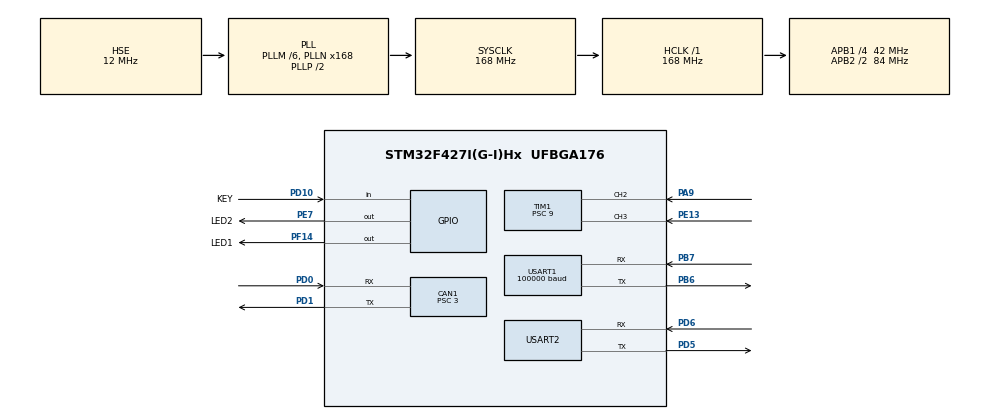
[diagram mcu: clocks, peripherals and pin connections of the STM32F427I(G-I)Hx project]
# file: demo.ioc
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CAN1.ABOM=ENABLE
CAN1.BS1=CAN_BS1_9TQ
CAN1.BS2=CAN_BS2_4TQ
CAN1.CalculateTimeBit=1000
CAN1.CalculateTimeQuantum=71.42857142857143
CAN1.Prescaler=3
CAN1.SJW=CAN_SJW_1TQ
Dma.Request0=USART1_RX
Dma.Request1=TIM1_CH1/CH2/CH3
Dma.TIM1_CH1/CH2/CH3.1.Direction=DMA_PERIPH_TO_MEMORY
Dma.TIM1_CH1/CH2/CH3.1.FIFOMode=DMA_FIFOMODE_DISABLE
Dma.TIM1_CH1/CH2/CH3.1.Instance=DMA2_Stream6
Dma.TIM1_CH1/CH2/CH3.1.MemDataAlignment=DMA_MDATAALIGN_HALFWORD
Dma.TIM1_CH1/CH2/CH3.1.MemInc=DMA_MINC_ENABLE
Dma.TIM1_CH1/CH2/CH3.1.Mode=DMA_CIRCULAR
Dma.TIM1_CH1/CH2/CH3.1.PeriphDataAlignment=DMA_PDATAALIGN_HALFWORD
Dma.TIM1_CH1/CH2/CH3.1.PeriphInc=DMA_PINC_DISABLE
Dma.TIM1_CH1/CH2/CH3.1.Priority=DMA_PRIORITY_LOW
Dma.USART1_RX.0.Direction=DMA_PERIPH_TO_MEMORY
Dma.USART1_RX.0.FIFOMode=DMA_FIFOMODE_DISABLE
Dma.USART1_RX.0.Instance=DMA2_Stream2
Dma.USART1_RX.0.MemDataAlignment=DMA_MDATAALIGN_BYTE
Dma.USART1_RX.0.MemInc=DMA_MINC_ENABLE
Dma.USART1_RX.0.Mode=DMA_NORMAL
Dma.USART1_RX.0.PeriphDataAlignment=DMA_PDATAALIGN_BYTE
Dma.USART1_RX.0.PeriphInc=DMA_PINC_DISABLE
Dma.USART1_RX.0.Priority=DMA_PRIORITY_LOW
Mcu.Family=STM32F4
Mcu.Name=STM32F427I(G-I)Hx
Mcu.Package=UFBGA176
NVIC.CAN1_RX0_IRQn=true\:0\:0\:false\:false\:true\:true\:true
NVIC.CAN1_TX_IRQn=true\:0\:0\:false\:false\:true\:true\:true
NVIC.DMA2_Stream2_IRQn=true\:0\:0\:false\:false\:true\:true\:true
NVIC.DMA2_Stream6_IRQn=true\:0\:0\:false\:false\:true\:false\:true
NVIC.PriorityGroup=NVIC_PRIORITYGROUP_4
NVIC.TIM6_DAC_IRQn=true\:0\:0\:false\:false\:true\:true\:true
NVIC.TimeBase=TIM6_DAC_IRQn
NVIC.TimeBaseIP=TIM6
NVIC.USART1_IRQn=true\:0\:0\:false\:false\:true\:true\:true
NVIC.USART2_IRQn=true\:0\:0\:false\:false\:true\:true\:true
PA13.Mode=Serial_Wire
PA13.Signal=SYS_JTMS-SWDIO
PA14.Mode=Serial_Wire
PA14.Signal=SYS_JTCK-SWCLK
PA9.Signal=S_TIM1_CH2
PB6.Mode=Asynchronous
PB6.Signal=USART1_TX
PB7.Mode=Asynchronous
PB7.Signal=USART1_RX
PD0.Mode=Master
PD0.Signal=CAN1_RX
PD1.Mode=Master
PD1.Signal=CAN1_TX
PD10.GPIO_Label=KEY
PD10.Signal=GPIO_Input
PD5.Mode=Asynchronous
PD5.Signal=USART2_TX
PD6.Mode=Asynchronous
PD6.Signal=USART2_RX
PE13.Signal=S_TIM1_CH3
PE7.GPIO_Label=LED2
PE7.Signal=GPIO_Output
PF14.GPIO_Label=LED1
PF14.Signal=GPIO_Output
PH0/OSC_IN.Mode=HSE-External-Oscillator
PH0/OSC_IN.Signal=RCC_OSC_IN
PH1/OSC_OUT.Mode=HSE-External-Oscillator
PH1/OSC_OUT.Signal=RCC_OSC_OUT
ProjectManager.HeapSize=0x200
ProjectManager.StackSize=0x400
ProjectManager.TargetToolchain=MDK-ARM V5
RCC.48MHZClocksFreq_Value=84000000
RCC.AHBFreq_Value=168000000
RCC.APB1CLKDivider=RCC_HCLK_DIV4
RCC.APB1Freq_Value=42000000
RCC.APB1TimFreq_Value=84000000
RCC.APB2CLKDivider=RCC_HCLK_DIV2
RCC.APB2Freq_Value=84000000
RCC.APB2TimFreq_Value=168000000
RCC.CortexFreq_Value=168000000
RCC.HCLKFreq_Value=168000000
RCC.HSE_VALUE=12000000
RCC.HSI_VALUE=16000000
RCC.LSE_VALUE=32768
RCC.PLLM=6
RCC.PLLN=168
RCC.PLLSourceVirtual=RCC_PLLSOURCE_HSE
RCC.SYSCLKFreq_VALUE=168000000
RCC.SYSCLKSource=RCC_SYSCLKSOURCE_PLLCLK
RCC.VCOOutputFreq_Value=336000000
SH.S_TIM1_CH2.0=TIM1_CH2,Input_Capture2_from_TI2
SH.S_TIM1_CH2.1=TIM1_CH2,Input_Capture1_from_TI2
SH.S_TIM1_CH3.0=TIM1_CH3,Input_Capture3_from_TI3
SH.S_TIM1_CH3.1=TIM1_CH3,Input_Capture4_from_TI3
TIM1.Channel-Input_Capture1_from_TI2=TIM_CHANNEL_1
TIM1.Channel-Input_Capture2_from_TI2=TIM_CHANNEL_2
TIM1.Channel-Input_Capture3_from_TI3=TIM_CHANNEL_3
TIM1.Channel-Input_Capture4_from_TI3=TIM_CHANNEL_4
TIM1.ICPolarity_CH2=TIM_INPUTCHANNELPOLARITY_BOTHEDGE
TIM1.Period=9999
TIM1.Prescaler=9
USART1.BaudRate=100000
USART1.Parity=PARITY_EVEN
USART1.VirtualMode=VM_ASYNC
USART2.VirtualMode=VM_ASYNC
VP_SYS_VS_tim6.Mode=TIM6
board=demo

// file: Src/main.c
/**
  ******************************************************************************
  * File Name          : main.c
  * Description        : Main program body
  ******************************************************************************
  ** This notice applies to any and all portions of this file
  * that are not between comment pairs USER CODE BEGIN and
  * USER CODE END. Other portions of this file, whether
  * inserted by the user or by software development tools
  * are owned by their respective copyright owners.
  *
  * COPYRIGHT(c) 2022 STMicroelectronics
  *
  * Redistribution and use in source and binary forms, with or without modification,
  * are permitted provided that the following conditions are met:
  *   1. Redistributions of source code must retain the above copyright notice,
  *      this list of conditions and the following disclaimer.
  *   2. Redistributions in binary form must reproduce the above copyright notice,
  *      this list of conditions and the following disclaimer in the documentation
  *      and/or other materials provided with the distribution.
  *   3. Neither the name of STMicroelectronics nor the names of its contributors
  *      may be used to endorse or promote products derived from this software
  *      without specific prior written permission.
  *
  * THIS SOFTWARE IS PROVIDED BY THE COPYRIGHT HOLDERS AND CONTRIBUTORS "AS IS"
  * AND ANY EXPRESS OR IMPLIED WARRANTIES, INCLUDING, BUT NOT LIMITED TO, THE
  * IMPLIED WARRANTIES OF MERCHANTABILITY AND FITNESS FOR A PARTICULAR PURPOSE ARE
  * DISCLAIMED. IN NO EVENT SHALL THE COPYRIGHT HOLDER OR CONTRIBUTORS BE LIABLE
  * FOR ANY DIRECT, INDIRECT, INCIDENTAL, SPECIAL, EXEMPLARY, OR CONSEQUENTIAL
  * DAMAGES (INCLUDING, BUT NOT LIMITED TO, PROCUREMENT OF SUBSTITUTE GOODS OR
  * SERVICES; LOSS OF USE, DATA, OR PROFITS; OR BUSINESS INTERRUPTION) HOWEVER
  * CAUSED AND ON ANY THEORY OF LIABILITY, WHETHER IN CONTRACT, STRICT LIABILITY,
  * OR TORT (INCLUDING NEGLIGENCE OR OTHERWISE) ARISING IN ANY WAY OUT OF THE USE
  * OF THIS SOFTWARE, EVEN IF ADVISED OF THE POSSIBILITY OF SUCH DAMAGE.
  *
  ******************************************************************************
  */

#include "main.h"
#include "stm32f4xx_hal.h"
#include "can.h"
#include "dma.h"
#include "tim.h"
#include "usart.h"
#include "gpio.h"

/* USER CODE BEGIN Includes */
#include "bsp_can.h"
#include "pid.h"
#include "Remote_Control.h"

#include <stdio.h>    //标准基础库函数，Printf函数必须
#include "string.h"   //标准库函数，字符串操作
#include "ctype.h"    //标准库函数，字符操作
// 最简重定向printf函数方式

#include "stm32f4xx_it.h"
#include "Mecanum.h"

/* USER CODE END Includes */

/* USER CODE BEGIN PV */
#define ABS(x)	( (x>0) ? (x) : (-x) )
//#define PI 3.14159265354f
//#define wheel_perimeter 150*PI		//zhouchang		mm!
//#define wheeltrack 430			//hengxiang lunju
//#define wheelbase 360		//qianhoulunde zhouju

//#define CNT_PER_ROUND 8192    // zhuanzi rolls one circle -> pulses
//#define REDUCTION_RATIO 36    // reduction ratio
//#define MOTOR_TOLERANCE 688	// position loop's tolerance  30du
//#define CNT_PER_ROUND_OUT (CNT_PER_ROUND * REDUCTION_RATIO) // motor rolls one circle -> pulses

//float ANGLE_BASE = 0 ;

/* Private variables ---------------------------------------------------------*/
//extern void get_total_angle(moto_measure_t *p);
PID_TypeDef outer_ppid[3];		//	x, y, angle
//PID_TypeDef big_vpid[3];			// mecanum speed
PID_TypeDef motor_vpid[4];		// motor speed

float distance[3] ={0};

//  Initialization
struct mecanum chassis ={0, 0, 0, 0,0,0};
struct mecanum *pchassis = &chassis;

//int32_t set_angle = 8192;		//8192 is 1 roll!
//int32_t set_spd = 4000;

//static int key_sta = 0;
//int speed_step_sign = +1;

uint16_t TIM_COUNT[2];
//int16_t round_CNT;

//#define SpeedStep 	8192.f/3.f

int fputc(int ch, FILE *f)
	{
	 HAL_UART_Transmit(&huart2,(uint8_t *)&ch,1,1000);
		return ch;
	}

/* USER CODE END PV */

void SystemClock_Config(void);

/* USER CODE BEGIN PFP */
/* Private function prototypes -----------------------------------------------*/
void Goto(float x, float y, float angle)		//  x:right ;  y: front!
{
		outer_ppid[0].target = x;
		outer_ppid[1].target = y;
		outer_ppid[2].target = angle;
//		mecanum_calculate(pchassis);
		pid_calculate(&outer_ppid[0],distance[0]);						//PID calculate** distance : speed integral = pass distance
		pid_calculate(&outer_ppid[1],distance[1]);
		pid_calculate(&outer_ppid[2],distance[2]);

//		big_vpid[0].target = outer_ppid[0].output;			//	Vx!
//		big_vpid[1].target = outer_ppid[1].output;			//	Vy!
//		big_vpid[2].target = outer_ppid[2].output;			//	Vw!
//		pchassis->xv_mm_s = x;			//	Vx!
//		pchassis->yv_mm_s = y;			//	Vy!
//		pchassis->zw_deg_s= angle;			//	Vw!
		pchassis->xv_mm_s = outer_ppid[0].output;			//	Vx!
		pchassis->yv_mm_s = outer_ppid[1].output;			//	Vy!
		pchassis->zw_deg_s= outer_ppid[2].output;			//	Vw!

		mecanum_calculate(pchassis);
		for(int i=0; i<4; i++)
    {
      motor_vpid[i].target = pchassis->wheel_rpm[i]; 								//	vpid reduce to small
			pid_calculate(&motor_vpid[i],moto_chassis[i].speed_rpm);						//PID calculate
    }
		set_moto_current(&hcan1, motor_vpid[0].output,
                        motor_vpid[1].output,
                        motor_vpid[2].output,
                        motor_vpid[3].output);
// Here : whether to calculate again?
//		int v_tx = (moto_chassis[1].speed_rpm - moto_chassis[2].speed_rpm)/2;
//		int v_ty = (moto_chassis[0].speed_rpm + moto_chassis[1].speed_rpm)/2;
//		int v_tz = (moto_chassis[0].speed_rpm - moto_chassis[2].speed_rpm )/(wheelbase + wheeltrack);

// Here : whether to calculate again?
// pass distance!   all use one time just ok ,it's the same. here-> motor[0]
		distance[0] += (moto_chassis[1].speed_rpm - moto_chassis[2].speed_rpm)/4320.0f*wheel_perimeter * motor_vpid[0].dtime /1000.0f;		// motor_vpid's "dtime" use to cal Integral of chassis distance
		distance[1] += (-moto_chassis[0].speed_rpm + moto_chassis[1].speed_rpm)/4320.0f*wheel_perimeter * motor_vpid[0].dtime /1000.0f;
	// Here!  	angle needs to be corrected	!!!		ignore temporarily
		distance[2] += (-moto_chassis[0].speed_rpm - moto_chassis[2].speed_rpm )/(wheelbase + wheeltrack)/2160.0f*wheel_perimeter * motor_vpid[0].dtime /1000.0f;

//			distance[0] += pchassis->xv_mm_s * motor_vpid[0].dtime *1000;				//dtime unit is ms
//			distance[1] += pchassis->yv_mm_s * motor_vpid[0].dtime *1000;				//dtime unit is ms				here distance unit is mm
//			distance[2] += pchassis->zw_deg_s * motor_vpid[0].dtime *1000;				//dtime unit is ms

//	printf("%f/t%f/t%f/n",distance[0],distance[1],distance[2]);

}

/* USER CODE END PFP */

int main(void)
{

  /* MCU Configuration----------------------------------------------------------*/

  /* Reset of all peripherals, Initializes the Flash interface and the Systick. */
  HAL_Init();

  /* Configure the system clock */
  SystemClock_Config();

  /* Initialize all configured peripherals */
  MX_GPIO_Init();
  MX_DMA_Init();
  MX_CAN1_Init();
  MX_USART1_UART_Init();
  MX_TIM1_Init();
  MX_USART2_UART_Init();

  /* USER CODE BEGIN 2 */
  my_can_filter_init_recv_all(&hcan1);     //配置CAN过滤器
  HAL_CAN_Receive_IT(&hcan1, CAN_FIFO0);   //启动CAN接收中断
  HAL_UART_Receive_IT_IDLE(&huart1,UART_Buffer,100);   //启动串口接收
  HAL_TIM_IC_Start_DMA(&htim1,TIM_CHANNEL_2,(uint32_t *)TIM_COUNT,2);		// encoder's necessity -> tim

	/*< 初始化PID参数 >*/
	for(int i=0; i<3; i++)
  {
    pid_init(&outer_ppid[i]);
//		pid_init(&big_vpid[i]);
		outer_ppid[i].f_param_init(&outer_ppid[i],PID_Position,16384,5000,10,0,8000,0,1.5,6,0);
//		big_vpid[i].f_param_init(&big_vpid[i],PID_Speed,16384,5000,10,0,8000,0,1.5,0,0);
  }

  for(int i=0; i<4; i++)
  {
    pid_init(&motor_vpid[i]);
    motor_vpid[i].f_param_init(&motor_vpid[i],PID_Speed,2000,5000,10,0,8000,0,1.5,0.1,0);
  }

  /* USER CODE END 2 */

  /* Infinite loop */
  /* USER CODE BEGIN WHILE */
  while (1)
  {

//    if(HAL_GetTick() - Latest_Remote_Control_Pack_Time >500){   //如果500ms都没有收到遥控器数据，证明遥控器可能已经离线，切换到按键控制模式。
//      Key_Scan();
//    }else{
//      set_spd = remote_control.ch4*8000/660;
//    }

//		printf("%d\t%f\n",moto_chassis[1].speed_rpm,moto_chassis[1].real_current);
//		printf("set: %d\treal: %d\n",set_spd, moto_chassis[1].speed_rpm);

//		set_moto_current(&hcan1,100,300,500,700);
//		printf("rpm:%d\tcurrent:%f\n",moto_chassis[0].speed_rpm,moto_chassis[0].real_current);
//		printf("rpm:%d\tcurrent:%f\n",moto_chassis[1].speed_rpm,moto_chassis[1].real_current);
//		printf("rpm:%d\tcurrent:%f\n",moto_chassis[2].speed_rpm,moto_chassis[2].real_current);
//		printf("rpm:%d\tcurrent:%f\n",moto_chassis[3].speed_rpm,moto_chassis[3].real_current);
			Goto(0,1000,0);					//	x>0 left |||  y>0 front

			HAL_Delay(10);      //PID控制频率100HZ
//		cnt++;

  /* USER CODE END WHILE */

  }

}

/** System Clock Configuration
*/
void SystemClock_Config(void)
{

  RCC_OscInitTypeDef RCC_OscInitStruct;
  RCC_ClkInitTypeDef RCC_ClkInitStruct;

    /**Configure the main internal regulator output voltage
    */
  __HAL_RCC_PWR_CLK_ENABLE();

  __HAL_PWR_VOLTAGESCALING_CONFIG(PWR_REGULATOR_VOLTAGE_SCALE1);

    /**Initializes the CPU, AHB and APB busses clocks
    */
  RCC_OscInitStruct.OscillatorType = RCC_OSCILLATORTYPE_HSE;
  RCC_OscInitStruct.HSEState = RCC_HSE_ON;
  RCC_OscInitStruct.PLL.PLLState = RCC_PLL_ON;
  RCC_OscInitStruct.PLL.PLLSource = RCC_PLLSOURCE_HSE;
  RCC_OscInitStruct.PLL.PLLM = 6;
  RCC_OscInitStruct.PLL.PLLN = 168;
  RCC_OscInitStruct.PLL.PLLP = RCC_PLLP_DIV2;
  RCC_OscInitStruct.PLL.PLLQ = 4;
  if (HAL_RCC_OscConfig(&RCC_OscInitStruct) != HAL_OK)
  {
    _Error_Handler(__FILE__, __LINE__);
  }

    /**Initializes the CPU, AHB and APB busses clocks
    */
  RCC_ClkInitStruct.ClockType = RCC_CLOCKTYPE_HCLK|RCC_CLOCKTYPE_SYSCLK
                              |RCC_CLOCKTYPE_PCLK1|RCC_CLOCKTYPE_PCLK2;
  RCC_ClkInitStruct.SYSCLKSource = RCC_SYSCLKSOURCE_PLLCLK;
  RCC_ClkInitStruct.AHBCLKDivider = RCC_SYSCLK_DIV1;
  RCC_ClkInitStruct.APB1CLKDivider = RCC_HCLK_DIV4;
  RCC_ClkInitStruct.APB2CLKDivider = RCC_HCLK_DIV2;

  if (HAL_RCC_ClockConfig(&RCC_ClkInitStruct, FLASH_LATENCY_5) != HAL_OK)
  {
    _Error_Handler(__FILE__, __LINE__);
  }

    /**Configure the Systick interrupt time
    */
  HAL_SYSTICK_Config(HAL_RCC_GetHCLKFreq()/1000);

    /**Configure the Systick
    */
  HAL_SYSTICK_CLKSourceConfig(SYSTICK_CLKSOURCE_HCLK);

  /* SysTick_IRQn interrupt configuration */
  HAL_NVIC_SetPriority(SysTick_IRQn, 0, 0);
}

void HAL_TIM_PeriodElapsedCallback(TIM_HandleTypeDef *htim)
{
/* USER CODE BEGIN Callback 0 */
//  TIM6 is unavailable!
/* USER CODE END Callback 0 */
  if (htim->Instance == TIM6) {
    HAL_IncTick();
  }
}

void _Error_Handler(char * file, int line)
{
  while(1)
  {
  }
}

/************************ (C) COPYRIGHT STMicroelectronics *****END OF FILE****/
